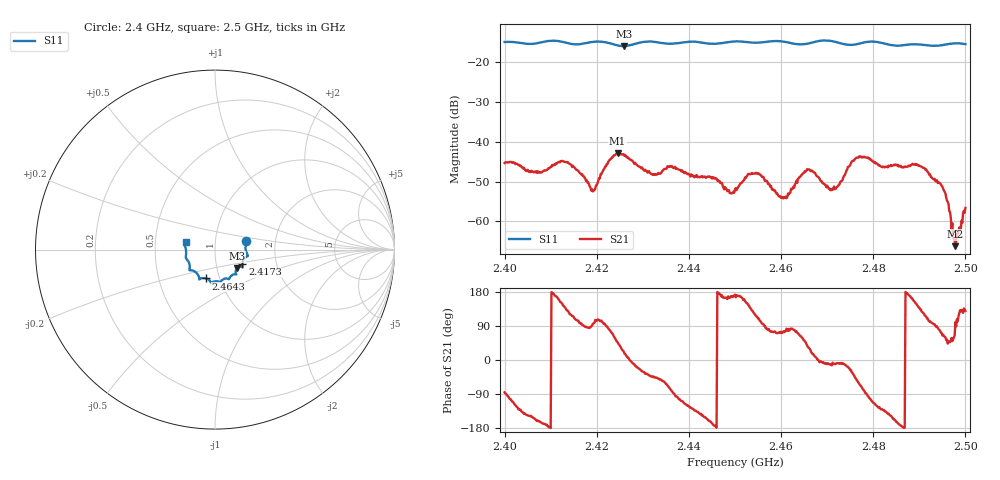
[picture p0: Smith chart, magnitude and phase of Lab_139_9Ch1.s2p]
# Hz S RI R 50
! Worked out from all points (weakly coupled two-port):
!   601 points, 2.4 GHz to 2.5 GHz, reference 50 ohm
!   highest |S21| = -42.91 dB at 2.4245 GHz (marker M1); lowest = -66.2 dB at 2.4978 GHz (marker M2)
!   lowest |S11| = -15.9 dB at 2.4258 GHz (marker M3), VSWR 1.38, Z = 62.3 - j13.2 ohm
!   |S11| at or under -10 dB: start of sweep to end of sweep
!   S12 and S22 are empty: the file has one direction only
!   S11 on the Smith chart (normalised r, x): 2.4 GHz: 1.41, +0.14; 2.4173 GHz: 1.34, -0.23; 2.4643 GHz: 0.86, -0.28; 2.5 GHz: 0.72, +0.06
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2.4e9  0.1732 0.0494  0.000448 -0.00541  0 0  0 0
2.407667e9  0.1762 -0.0171  -0.00391 -0.00122  0 0  0 0
2.412667e9  0.1761 -0.0392  -0.00467 0.00336  0 0  0 0
2.416667e9  0.153 -0.0745  -0.000413 0.00386  0 0  0 0
2.417333e9  0.1524 -0.082  6.86e-05 0.00358  0 0  0 0
2.419333e9  0.1536 -0.096  -0.000284 0.00241  0 0  0 0
2.4245e9  0.1321 -0.0958  0.00484 0.00526  0 0  0 0
2.425833e9  0.1218 -0.1035  0.00645 0.00269  0 0  0 0
2.433333e9  0.1131 -0.1371  0.00266 -0.00309  0 0  0 0
2.435833e9  0.0956 -0.142  0.00128 -0.00481  0 0  0 0
2.45e9  0.0295 -0.1808  -0.0025 0.00033  0 0  0 0
2.454667e9  0.0048 -0.1764  -0.00168 0.00365  0 0  0 0
2.460833e9  -0.0257 -0.1791  0.000483 0.00192  0 0  0 0
2.464333e9  -0.0499 -0.1606  0.00174 0.00334  0 0  0 0
2.466667e9  -0.0758 -0.1599  0.00416 0.00137  0 0  0 0
2.470833e9  -0.0873 -0.1641  0.00249 -0.000498  0 0  0 0
2.476667e9  -0.1234 -0.1171  0.00342 -0.00539  0 0  0 0
2.483333e9  -0.1407 -0.0901  -0.00393 -0.00313  0 0  0 0
2.489667e9  -0.1628 -0.0425  -0.00399 0.00314  0 0  0 0
2.494333e9  -0.1624 0.00211  0.000557 0.00301  0 0  0 0
2.497833e9  -0.1707 0.0308  -8.97e-05 0.00048  0 0  0 0
2.5e9  -0.1638 0.0421  -0.000946 0.00113  0 0  0 0
